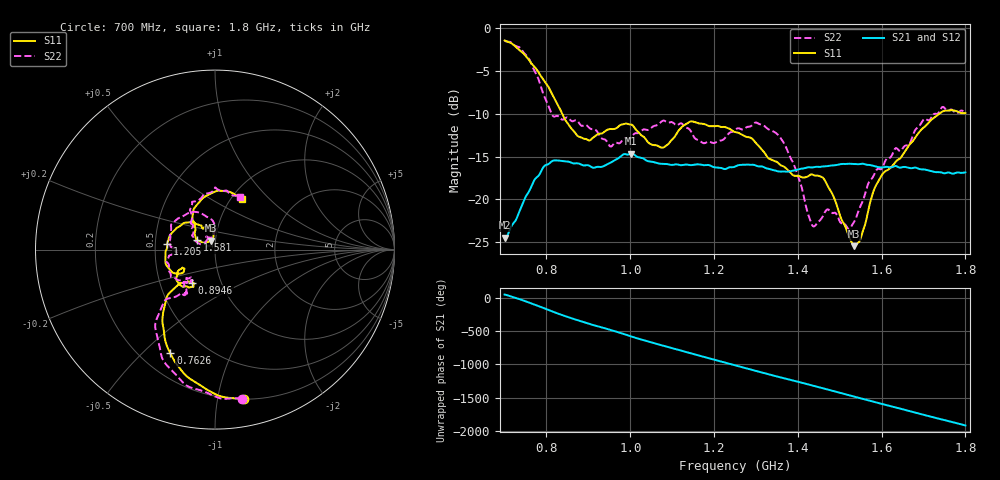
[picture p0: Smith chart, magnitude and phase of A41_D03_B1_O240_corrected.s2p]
! Created with skrf 1.9.0 (http://scikit-rf.org).
# Hz S RI R 50.0
!freq ReS11 ImS11 ReS21 ImS21 ReS12 ImS12 ReS22 ImS22
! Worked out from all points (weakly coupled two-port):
!   1601 points, 700 MHz to 1.8 GHz, reference 50 ohm
!   highest |S21| = -14.65 dB at 1.002 GHz (marker M1); lowest = -24.5 dB at 701.4 MHz (marker M2)
!   lowest |S11| = -25.5 dB at 1.535 GHz (marker M3), VSWR 1.11, Z = 47.7 + j4.67 ohm
!   |S11| at or under -10 dB: 837.3 MHz to 1.738 GHz (900.4 MHz wide, 69.9 % of centre)
!   |S22| runs from -23.4 to -1.5 dB; largest |S21 - S12| = 0.0035
!   S11 on the Smith chart (normalised r, x): 700 MHz: 0.20, -1.19; 762.6 MHz: 0.32, -0.61; 894.6 MHz: 0.73, -0.28; 1.205 GHz: 0.58, +0.04; 1.581 GHz: 0.81, +0.09; 1.8 GHz: 1.13, +0.70
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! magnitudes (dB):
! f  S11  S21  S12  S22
! 700 MHz  -1.4  -24.4  -24.2  -1.5
! 701.4 MHz  -1.5  -24.5  -24.1  -1.5
! 762.6 MHz  -4.0  -18.6  -18.6  -4.0
! 814.8 MHz  -7.8  -15.5  -15.6  -10.2
! 883.6 MHz  -12.8  -15.9  -15.8  -11.4
! 894.6 MHz  -12.9  -16.0  -16.1  -11.3
! 953 MHz  -11.8  -15.7  -15.7  -13.8
! 1.002 GHz  -11.2  -14.6  -14.8  -12.7
! 1.067 GHz  -13.8  -15.8  -15.7  -11.2
! 1.143 GHz  -10.9  -16.0  -16.0  -11.9
! 1.205 GHz  -11.4  -16.3  -16.3  -13.3
! 1.25 GHz  -12.1  -16.2  -16.1  -11.9
! 1.356 GHz  -15.9  -16.7  -16.7  -12.7
! 1.394 GHz  -17.2  -16.6  -16.6  -16.3
! 1.434 GHz  -17.1  -16.3  -16.2  -23.0
! 1.464 GHz  -17.8  -16.1  -16.1  -21.5
! 1.535 GHz  -25.5  -15.9  -15.9  -22.6
! 1.552 GHz  -24.2  -15.8  -15.9  -20.5
! 1.581 GHz  -18.9  -16.1  -16.1  -17.2
! 1.617 GHz  -16.5  -16.2  -16.2  -15.2
! 1.739 GHz  -10.0  -16.8  -16.8  -9.7
! 1.8 GHz  -9.9  -16.8  -16.8  -9.8
